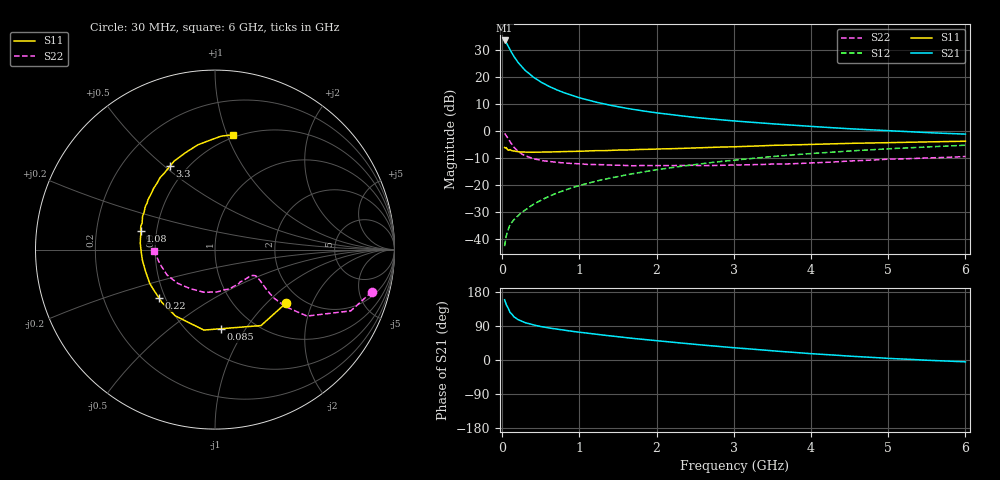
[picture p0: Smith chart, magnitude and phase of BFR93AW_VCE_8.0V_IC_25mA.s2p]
! Infineon Technologies  Discrete & RF Semiconductors
! BFR93AW
! VCE =  8.0 V,  IC =  25 mA
! Common Emitter S-Parameters:  Nov 2015
# GHz  S  MA  R  50
!  f  S11  S21  S12  S22
! GHz  MAG  ANG  MAG  ANG  MAG  ANG  MAG  ANG
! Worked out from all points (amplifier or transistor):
!   206 points, 30 MHz to 6 GHz, reference 50 ohm
!   highest |S21| = 33.4 dB at 30 MHz (marker M1)
!   |S21| within 3 dB of that: start of sweep to 92.01 MHz
!   unconditionally stable (mu >= 1): 495.9 MHz to 2.147 GHz
!   at 200 MHz: K = 0.75, MSG = 28.4 dB, |S12| = -31.4 dB
!   at 1.56 GHz: K = 1.04, MAG = 11.3 dB, |S12| = -16.4 dB
!   at 6 GHz: K = 0.89, MSG = 2.0 dB, |S12| = -5.2 dB
!   S11 on the Smith chart (normalised r, x): 30 MHz: 1.66, -1.31; 85 MHz: 0.71, -0.78; 220 MHz: 0.46, -0.30; 1.08 GHz: 0.41, +0.10; 3.3 GHz: 0.40, +0.52; 6 GHz: 0.48, +1.05
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0.03  0.4953 -37.0  46.83 159.0  0.0075 74.6  0.905 -15.1
0.05  0.4949 -58.8  43.11 145.9  0.0114 69.0  0.8297 -24.3
0.085  0.442 -85.7  34.58 133.1  0.0165 63.2  0.6878 -31.7
0.1  0.4526 -97.9  31.66 125.6  0.0187 61.7  0.6316 -35.9
0.15  0.4304 -121.1  23.7 114.1  0.023 60.5  0.502 -39.0
0.2  0.4171 -135.1  18.74 106.9  0.027 62.4  0.4271 -39.4
0.22  0.4123 -139.2  17.36 105.1  0.0287 62.7  0.4072 -39.0
0.26  0.4088 -147.0  14.86 101.3  0.032 63.5  0.3715 -38.1
0.3  0.4096 -152.6  12.97 98.2  0.0351 64.8  0.348 -37.1
0.4  0.4055 -163.1  9.882 92.6  0.0441 68.2  0.3091 -34.7
0.5  0.4085 -170.6  8.001 88.2  0.0526 69.5  0.2861 -33.5
0.6  0.4102 -175.7  6.703 84.7  0.0618 71.2  0.2744 -32.9
0.7  0.413 179.5  5.789 81.5  0.0708 71.6  0.2653 -33.1
1.04  0.4245 167.1  3.958 72.2  0.1023 71.7  0.2456 -37.1
1.08  0.427 166.0  3.818 71.1  0.106 71.6  0.243 -38.2
1.5  0.4445 155.3  2.799 61.4  0.1445 70.0  0.2342 -46.7
2.02  0.4661 142.8  2.143 50.3  0.1947 66.7  0.2304 -60.7
3.1  0.5166 121.7  1.496 30.9  0.2987 57.6  0.2363 -90.7
3.3  0.5289 118.2  1.424 27.6  0.3182 55.6  0.2392 -97.7
4.1  0.5699 105.1  1.191 15.5  0.3927 47.6  0.2606 -125.7
5.1  0.6135 91.7  0.996 3.4  0.4774 36.9  0.304 -155.0
6  0.6468 81.3  0.876 -4.9  0.5464 27.4  0.3382 -178.7
